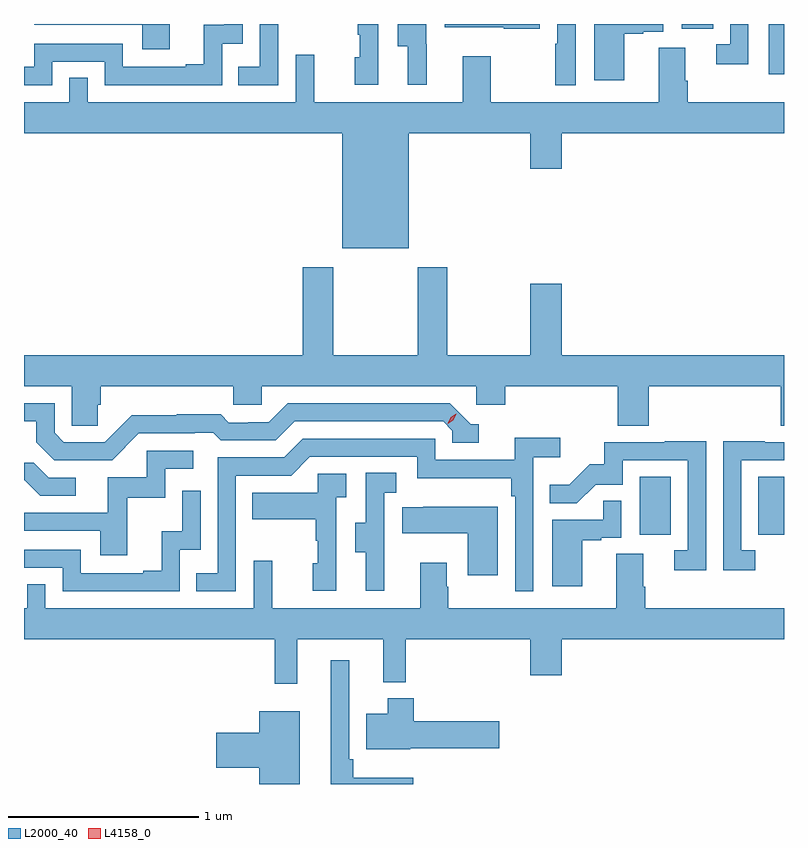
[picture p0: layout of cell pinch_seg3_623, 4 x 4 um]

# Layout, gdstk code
import gdstk
lib = gdstk.Library(unit=1e-6, precision=1e-09)
def R(c, l, rs):  # rectangles x0, y0, x1, y1
    for r in rs: c.add(gdstk.rectangle(r[:2], r[2:], *l))
def P(c, l, *ps):  # polygons
    for p in ps: c.add(gdstk.Polygon(p, *l))
L2000_40 = (2000, 40)
L4158_0 = (4158, 0)

pinch_seg3_623 = lib.new_cell('pinch_seg3_623')
R(pinch_seg3_623, L2000_40, [(1076.672,681.486,1076.836,681.793), (1077.296,681.486,1077.431,681.793), (1077.35,683.91,1077.431,684.175), (1076.894,684.15,1077.058,684.175)])
P(pinch_seg3_623, L2000_40, [(1077.243,684.175),(1077.147,684.175),(1077.147,684.069),(1077.075,684.069),(1077.075,683.964),(1077.243,683.964)],
  [(1074.197,684.175),(1073.484,684.175),(1073.484,684.171),(1074.053,684.171),(1074.053,684.042),(1074.197,684.042)],
  [(1076.146,684.175),(1075.645,684.175),(1075.645,684.158),(1075.955,684.158),(1075.955,684.151),(1076.146,684.151)],
  [(1075.55,684.069),(1075.548,684.069),(1075.548,684.175),(1075.397,684.175),(1075.397,684.058),(1075.451,684.058),(1075.451,683.856),(1075.55,683.856)],
  [(1073.58,683.976),(1073.856,683.976),(1073.856,683.853),(1074.474,683.853),(1074.474,684.072),(1074.582,684.072),(1074.582,684.175),(1074.486,684.175),(1074.486,684.17),(1074.377,684.17),(1074.377,683.962),(1074.281,683.962),(1074.281,683.949),(1073.952,683.949),(1073.952,684.072),(1073.484,684.072),(1073.484,683.949),(1073.431,683.949),(1073.431,683.853),(1073.58,683.853)],
  [(1075.296,684.175),(1075.188,684.175),(1075.188,684.119),(1075.198,684.119),(1075.198,684),(1075.172,684),(1075.172,683.856),(1075.296,683.856)],
  [(1076.334,684.175),(1076.238,684.175),(1076.238,684.071),(1076.226,684.071),(1076.226,683.853),(1076.334,683.853)],
  [(1074.768,684.175),(1074.672,684.175),(1074.672,683.949),(1074.559,683.949),(1074.559,683.853),(1074.768,683.853)],
  [(1076.59,684.123),(1076.69,684.123),(1076.69,684.135),(1076.796,684.135),(1076.796,684.175),(1076.432,684.175),(1076.432,683.88),(1076.59,683.88)],
  [(1075.456,683.6),(1076.096,683.6),(1076.096,683.412),(1076.26,683.412),(1076.26,683.6),(1077.431,683.6),(1077.431,683.764),(1076.924,683.764),(1076.924,683.876),(1076.911,683.876),(1076.911,684.05),(1076.771,684.05),(1076.771,683.764),(1075.887,683.764),(1075.887,684.004),(1075.739,684.004),(1075.739,683.764),(1074.959,683.764),(1074.959,684.013),(1074.861,684.013),(1074.861,683.764),(1073.766,683.764),(1073.766,683.891),(1073.67,683.891),(1073.67,683.764),(1073.431,683.764),(1073.431,683.6),(1075.106,683.6),(1075.106,682.994),(1075.456,682.994)],
  [(1073.819,682.17),(1073.834,682.17),(1073.834,682.268),(1074.531,682.268),(1074.531,682.17),(1074.681,682.17),(1074.681,682.268),(1075.812,682.268),(1075.812,682.17),(1075.964,682.17),(1075.964,682.268),(1076.555,682.268),(1076.555,682.06),(1076.72,682.06),(1076.72,682.268),(1077.413,682.268),(1077.413,682.06),(1077.431,682.06),(1077.431,682.432),(1076.26,682.432),(1076.26,682.807),(1076.096,682.807),(1076.096,682.432),(1075.659,682.432),(1075.659,682.894),(1075.504,682.894),(1075.504,682.432),(1075.059,682.432),(1075.059,682.894),(1074.899,682.894),(1074.899,682.432),(1073.431,682.432),(1073.431,682.268),(1073.682,682.268),(1073.682,682.06),(1073.819,682.06)],
  [(1074.036,682.02),(1074.329,682.02),(1074.329,682.023),(1074.428,682.023),(1074.467,681.984),(1074.756,681.984),(1074.855,682.083),(1075.638,682.083),(1075.686,682.035),(1075.686,681.972),(1075.825,681.972),(1075.825,682.068),(1075.782,682.068),(1075.671,682.179),(1074.818,682.179),(1074.719,682.08),(1074.612,682.08),(1074.612,682.077),(1074.509,682.077),(1074.467,682.12),(1074.234,682.12),(1074.234,682.117),(1073.998,682.117),(1073.856,681.975),(1073.64,681.975),(1073.592,682.023),(1073.592,682.179),(1073.431,682.179),(1073.431,682.083),(1073.495,682.083),(1073.495,681.973),(1073.589,681.879),(1073.895,681.879)],
  [(1074.546,681.798),(1074.837,681.798),(1074.936,681.897),(1075.5,681.897),(1075.5,681.785),(1075.996,681.785),(1075.996,681.689),(1076.016,681.689),(1076.016,681.189),(1076.112,681.189),(1076.112,681.896),(1076.254,681.896),(1076.254,681.998),(1076.015,681.998),(1076.015,681.882),(1075.596,681.882),(1075.596,681.993),(1074.899,681.993),(1074.8,681.894),(1074.45,681.894),(1074.45,681.285),(1074.337,681.285),(1074.337,681.189),(1074.546,681.189)],
  [(1077.28,681.405),(1077.207,681.405),(1077.207,681.879),(1077.431,681.879),(1077.431,681.975),(1077.329,681.975),(1077.329,681.98),(1077.111,681.98),(1077.111,681.3),(1077.28,681.3)],
  [(1077.021,681.98),(1076.803,681.98),(1076.803,681.975),(1076.485,681.975),(1076.485,681.858),(1076.408,681.858),(1076.301,681.751),(1076.197,681.751),(1076.197,681.652),(1076.341,681.652),(1076.439,681.75),(1076.583,681.75),(1076.583,681.879),(1076.925,681.879),(1076.925,681.405),(1076.853,681.405),(1076.853,681.3),(1077.021,681.3)],
  [(1073.975,681.681),(1074.174,681.681),(1074.174,681.834),(1074.322,681.834),(1074.322,681.93),(1074.078,681.93),(1074.078,681.789),(1073.873,681.789),(1073.873,681.603),(1073.431,681.603),(1073.431,681.507),(1073.831,681.507),(1073.831,681.378),(1073.975,681.378)],
  [(1073.704,681.786),(1073.562,681.786),(1073.482,681.866),(1073.431,681.866),(1073.431,681.774),(1073.435,681.774),(1073.516,681.693),(1073.704,681.693)],
  [(1075.328,681.405),(1075.326,681.405),(1075.326,681.709),(1075.39,681.709),(1075.39,681.812),(1075.23,681.812),(1075.23,681.549),(1075.175,681.549),(1075.175,681.394),(1075.229,681.394),(1075.229,681.192),(1075.328,681.192)],
  [(1075.074,681.683),(1075.126,681.683),(1075.126,681.807),(1074.978,681.807),(1074.978,681.709),(1074.631,681.709),(1074.631,681.569),(1074.966,681.569),(1074.966,681.455),(1074.976,681.455),(1074.976,681.336),(1074.95,681.336),(1074.95,681.192),(1075.074,681.192)],
  [(1074.252,681.408),(1074.36,681.408),(1074.36,681.718),(1074.264,681.718),(1074.264,681.506),(1074.155,681.506),(1074.155,681.298),(1074.059,681.298),(1074.059,681.285),(1073.73,681.285),(1073.73,681.408),(1073.431,681.408),(1073.431,681.312),(1073.634,681.312),(1073.634,681.189),(1074.252,681.189)],
  [(1076.368,681.459),(1076.468,681.459),(1076.468,681.471),(1076.574,681.471),(1076.574,681.665),(1076.479,681.665),(1076.479,681.567),(1076.21,681.567),(1076.21,681.216),(1076.368,681.216)],
  [(1075.924,681.634),(1075.531,681.634),(1075.531,681.631),(1075.423,681.631),(1075.423,681.494),(1075.766,681.494),(1075.766,681.273),(1075.924,681.273)],
  [(1074.737,681.349),(1074.639,681.349),(1074.639,681.1),(1073.544,681.1),(1073.544,681.227),(1073.448,681.227),(1073.448,681.1),(1073.431,681.1),(1073.431,680.936),(1074.751,680.936),(1074.751,680.703),(1074.869,680.703),(1074.869,680.936),(1075.322,680.936),(1075.322,680.711),(1075.439,680.711),(1075.439,680.936),(1076.096,680.936),(1076.096,680.748),(1076.26,680.748),(1076.26,680.936),(1077.431,680.936),(1077.431,681.1),(1076.702,681.1),(1076.702,681.212),(1076.689,681.212),(1076.689,681.386),(1076.549,681.386),(1076.549,681.1),(1075.665,681.1),(1075.665,681.212),(1075.657,681.212),(1075.657,681.34),(1075.517,681.34),(1075.517,681.1),(1074.737,681.1)],
  [(1075.48,680.209),(1075.163,680.209),(1075.163,680.305),(1075.143,680.305),(1075.143,680.827),(1075.046,680.827),(1075.046,680.175),(1075.48,680.175)],
  [(1075.464,680.363),(1075.933,680.363),(1075.933,680.505),(1075.481,680.505),(1075.481,680.626),(1075.346,680.626),(1075.346,680.545),(1075.232,680.545),(1075.232,680.357),(1075.464,680.357)],
  [(1074.883,680.557),(1074.668,680.557),(1074.668,680.444),(1074.444,680.444),(1074.444,680.261),(1074.668,680.261),(1074.668,680.175),(1074.883,680.175)])
P(pinch_seg3_623, L4158_0, [(1075.66,682.071),(1075.66,682.071),(1075.676,682.104),(1075.707,682.123),(1075.707,682.123),(1075.707,682.122),(1075.691,682.09),(1075.66,682.071)])

lib.write_gds('pinch_seg3_623.gds')
